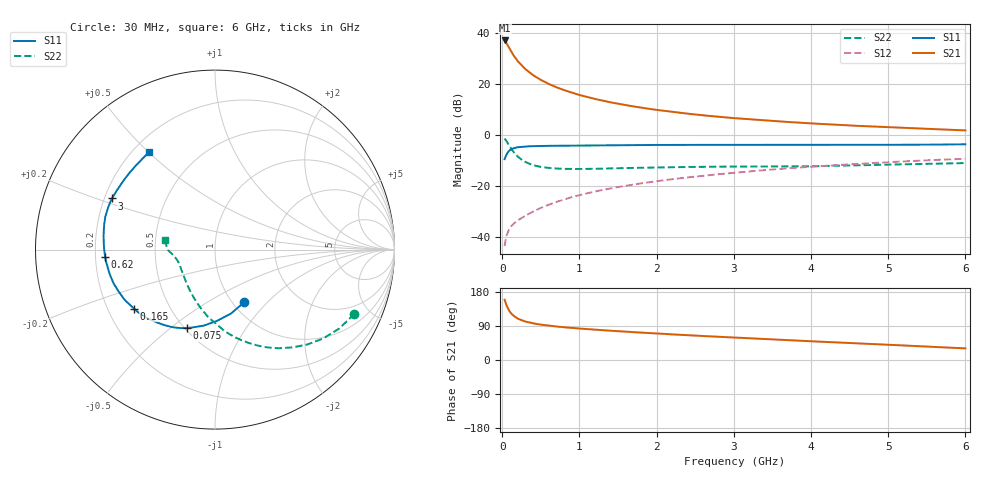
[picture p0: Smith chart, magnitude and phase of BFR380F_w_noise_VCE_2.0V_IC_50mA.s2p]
! Infineon Technologies  Discrete & RF Semiconductors
! BFR380F
! VCE =  2.0 V,  IC =  50 mA
! Common Emitter S-Parameters:  Nov 2015
# GHz  S  MA  R  50
!  f  S11  S21  S12  S22
! GHz  MAG  ANG  MAG  ANG  MAG  ANG  MAG  ANG
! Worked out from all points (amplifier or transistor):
!   206 points, 30 MHz to 6 GHz, reference 50 ohm
!   highest |S21| = 37.2 dB at 30 MHz (marker M1)
!   |S21| within 3 dB of that: start of sweep to 89.2 MHz
!   unconditionally stable (mu >= 1): 782.4 MHz to 4.957 GHz
!   at 200 MHz: K = 0.65, MSG = 31.4 dB, |S12| = -33.6 dB
!   at 1.56 GHz: K = 1.04, MAG = 14.8 dB, |S12| = -20.2 dB
!   at 6 GHz: K = 0.99, MSG = 5.6 dB, |S12| = -9.3 dB
!   lowest NFmin = 1.53 dB at 900 MHz
!   S11 on the Smith chart (normalised r, x): 30 MHz: 1.12, -0.74; 75 MHz: 0.51, -0.57; 165 MHz: 0.31, -0.30; 620 MHz: 0.24, -0.03; 3 GHz: 0.23, +0.22; 6 GHz: 0.26, +0.50
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0.03  0.3354 -61.2  72.6 158.9  0.0065 76.1  0.8555 -24.8
0.04  0.3668 -75.8  69.35 152.6  0.0082 71.7  0.8197 -32.5
0.05  0.3971 -88.3  65.85 146.6  0.0097 68.7  0.7796 -39.5
0.07  0.4532 -106.6  58.1 137.1  0.0121 62.5  0.6944 -51.7
0.075  0.4638 -109.9  56.31 135.4  0.0126 61.5  0.6742 -54.3
0.095  0.4987 -121.1  49.57 128.4  0.0146 58.7  0.6011 -63.9
0.12  0.527 -131.6  42.62 121.8  0.0164 56.4  0.5254 -73.8
0.15  0.5529 -140.8  36.16 115.9  0.0181 55.7  0.4563 -83.4
0.165  0.558 -143.9  33.8 114.2  0.0189 56.0  0.4308 -86.6
0.2  0.5757 -150.7  28.44 109.1  0.0208 56.5  0.3778 -95.8
0.24  0.5839 -155.7  24.39 105.7  0.0228 57.7  0.3371 -103.3
0.3  0.5956 -161.7  19.76 101.3  0.0259 59.8  0.2946 -113.3
0.45  0.6061 -170.4  13.44 94.8  0.034 64.3  0.2446 -130.5
0.62  0.6134 -176.1  9.863 90.2  0.0435 67.6  0.2241 -142.9
0.8  0.6178 179.6  7.647 86.4  0.0539 69.7  0.2162 -151.6
1.04  0.6223 175.3  5.916 82.4  0.0679 71.0  0.2151 -159.0
2.02  0.6382 163.0  3.096 69.8  0.1247 70.5  0.2304 -170.4
3  0.6407 153.6  2.151 59.3  0.1807 67.4  0.2395 -174.0
3.1  0.6399 152.6  2.097 58.4  0.1865 66.9  0.2397 -174.1
4.1  0.6384 142.9  1.662 48.5  0.2432 62.2  0.2443 -175.3
5.1  0.6429 133.6  1.405 39.3  0.2973 57.1  0.2636 179.6
6  0.6566 123.8  1.234 30.7  0.3417 51.5  0.2809 169.4
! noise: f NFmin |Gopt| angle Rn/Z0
0.45  1.55  0.41  -175  0.08
0.9  1.53  0.44  -174  0.07
1.8  1.72  0.48  -162  0.09
1.9  1.81  0.48  -163  0.09
2.4  1.87  0.49  -153  0.12
3.5  2.48  0.54  -144  0.2
